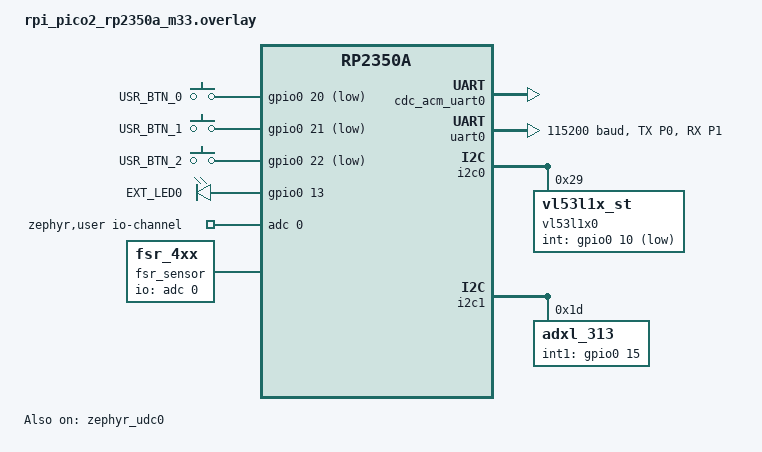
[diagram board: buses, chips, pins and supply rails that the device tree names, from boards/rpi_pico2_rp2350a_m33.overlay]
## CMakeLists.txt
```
cmake_minimum_required(VERSION 3.20.0)

find_package(Zephyr REQUIRED HINTS $ENV{ZEPHYR_BASE})
project(sensor_node_test)

target_sources(app PRIVATE 
    ${SRC_FILES}
    src/test_main.c
    ../../sensor_node/src/sensor_node.c
    ../../coms/coms.c
    # ../../sensor_node/drivers/adxl_313/adxl_313.c
    # ../../sensor_node/drivers/fsr_4xx/fsr_4xx.c
    # ../../sensor_node/drivers/vl53l1x/vl53l1x.c
)

target_include_directories(app PRIVATE
    ../../include
)
```

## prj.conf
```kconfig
CONFIG_ZTEST=y
CONFIG_TEST=y
CONFIG_POLL=y
CONFIG_SENSOR=y
CONFIG_GPIO=y
CONFIG_I2C=y
CONFIG_ADC=y
CONFIG_SERIAL=y

CONFIG_CONSOLE=y
CONFIG_UART_CONSOLE=y
CONFIG_PRINTK=y
CONFIG_STDOUT_CONSOLE=y

CONFIG_USB_DEVICE_STACK_NEXT=y
CONFIG_USBD_CDC_ACM_CLASS=y
CONFIG_CDC_ACM_SERIAL_INITIALIZE_AT_BOOT=y
CONFIG_ZTEST_VERBOSE_SUMMARY=y
```

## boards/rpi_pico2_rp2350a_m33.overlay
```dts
/ {
    chosen {
        zephyr,console = &cdc_acm_uart0;
    };
};

&zephyr_udc0 {
    status = "okay";

    cdc_acm_uart0: cdc_acm_uart0 {
        compatible = "zephyr,cdc-acm-uart";
    };
};

/ {
    keys {
        compatible = "gpio-keys";
        button0: button_0 {
            gpios = <&gpio0 20 (GPIO_PULL_UP | GPIO_ACTIVE_LOW)>;
            label = "USR_BTN_0";
        };
        button1: button_1 {
            gpios = <&gpio0 21 (GPIO_PULL_UP | GPIO_ACTIVE_LOW)>;
            label = "USR_BTN_1";
        };
        button2: button_2 {
            gpios = <&gpio0 22 (GPIO_PULL_UP | GPIO_ACTIVE_LOW)>;
            label = "USR_BTN_2";
        };
    };

    leds {
        compatible = "gpio-leds";
        led0: led_0 {
            gpios = <&gpio0 13 GPIO_ACTIVE_HIGH>;
            label = "EXT_LED0";
        };
    };

    aliases {
        button0 = &button0;
        button1 = &button1;
        button2 = &button2;
        led0 = &led0;
    };
};

&uart0 {
    status = "okay";
    current-speed = <115200>;
    pinctrl-0 = <&uart0_default>;
    pinctrl-names = "default";
};

/ {
    zephyr,user {
        io-channels = <&adc 0>;
    };

    fsr_sensor: fsr_4xx {
        compatible = "fsr_4xx";
        io-channels = <&adc 0>;
        resolution = <12>;
        status = "okay";
    };
};

&pinctrl {
    uart0_default: uart0_default {
        group1 {
            pinmux = <UART0_TX_P0>;
        };
        group2 {
            pinmux = <UART0_RX_P1>;
            input-enable;
        };
    };
};

&i2c0 {
    status = "okay";

    vl53l1x0: vl53l1x@29 {
        compatible = "vl53l1x_st";
        reg = <0x29>;
        int-gpios = <&gpio0 10 GPIO_ACTIVE_LOW>;
        threshold-mm = <70>;
        intermeasurement-period-ms = <80>;
        sample-window-ms = <3000>;
        status = "okay";
    };
};

&i2c1 {
        status = "okay";
        adxl_313: adxl_313@1d {
            compatible = "adxl_313"; /* adxl_313 uses the adxl_313 driver */
            reg = <0x1d>;
            int1-gpios = <&gpio0 15 (GPIO_PULL_DOWN | GPIO_ACTIVE_HIGH)>;
            status = "okay";
        };
    };
```

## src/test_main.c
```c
#include <zephyr/ztest.h>
#include <zephyr/kernel.h>
#include <zephyr/sys/printk.h>
#include "coms.h"
#include "sensor_node.h"

extern sensor_node_t sn;
extern struct k_msgq packet_queue;

extern struct k_msgq packet_queue;
extern struct k_sem emergency_sem;
extern int dynamic_set_variable;

void sensor_emergency_isr(void);
void process_packet(packet_t *packet);


#define ADXL_NODE DT_NODELABEL(adxl_313)
#define FSR_NODE  DT_NODELABEL(fsr_sensor)
#define TOF_NODE  DT_NODELABEL(vl53l1x0)

ZTEST(sensor_node_suite, test_build_request_packet)
{
    packet_t *pkt = build_packet(REQUEST, NULL, 0);

    zassert_not_null(pkt, "packet should not be NULL");
    zassert_equal(pkt->type, REQUEST, "wrong packet type");
    zassert_equal(pkt->data_len, 0, "wrong data_len");
    zassert_is_null(pkt->data, "data should be NULL");

    destroy_packet(pkt);
}

ZTEST(sensor_node_suite, test_build_data_packet_with_payload)
{
    uint8_t payload[] = { 0x11, 0x22, 0x33, 0x44 };

    packet_t *pkt = build_packet(RESPONSE, payload, sizeof(payload));

    zassert_not_null(pkt, "packet should not be NULL");
    zassert_equal(pkt->type, RESPONSE, "wrong packet type");
    zassert_equal(pkt->data_len, sizeof(payload), "wrong data_len");
    zassert_not_null(pkt->data, "data should not be NULL");

    zassert_mem_equal(pkt->data, payload, sizeof(payload),
                      "payload contents were not copied correctly");

    destroy_packet(pkt);
}

ZTEST(sensor_node_suite, test_build_packet_copies_payload_not_alias)
{
    uint8_t payload[] = { 1, 2, 3 };

    packet_t *pkt = build_packet(RESPONSE, payload, sizeof(payload));
    zassert_not_null(pkt, "packet should not be NULL");

    payload[0] = 99;

    zassert_equal(((uint8_t *)pkt->data)[0], 1,
                  "packet should keep original copied data");

    destroy_packet(pkt);
}

ZTEST(sensor_node_suite, test_build_packet_null_payload_nonzero_len_fails)
{
    packet_t *pkt = build_packet(RESPONSE, NULL, 4);

    zassert_is_null(pkt, "packet should fail with NULL payload and nonzero length");
}

ZTEST(sensor_node_suite, test_destroy_packet_null_safe)
{
    destroy_packet(NULL);
    zassert_true(true, "destroy_packet(NULL) should not crash");
}

ZTEST(sensor_node_suite, test_packet_queue_starts_empty)
{
    packet_t *pkt = NULL;
    int ret = k_msgq_get(&packet_queue, &pkt, K_NO_WAIT);

    zassert_equal(ret, -ENOMSG, "packet queue should be empty");
}


ZTEST(sensor_node_suite, test_packet_queue_put_and_get)
{
    packet_t *pkt = build_packet(REQUEST, NULL, 0);
    zassert_not_null(pkt, "packet should not be NULL");

    int ret = k_msgq_put(&packet_queue, &pkt, K_NO_WAIT);
    zassert_equal(ret, 0, "k_msgq_put failed");

    packet_t *out = NULL;
    ret = k_msgq_get(&packet_queue, &out, K_NO_WAIT);

    zassert_equal(ret, 0, "k_msgq_get failed");
    zassert_equal(out, pkt, "queue returned wrong packet pointer");

    destroy_packet(out);
}

ZTEST(sensor_node_suite, test_packet_queue_fifo_order)
{
    packet_t *pkt1 = build_packet(REQUEST, NULL, 0);
    packet_t *pkt2 = build_packet(RESPONSE, NULL, 0);

    zassert_not_null(pkt1, "pkt1 should not be NULL");
    zassert_not_null(pkt2, "pkt2 should not be NULL");

    zassert_equal(k_msgq_put(&packet_queue, &pkt1, K_NO_WAIT), 0);
    zassert_equal(k_msgq_put(&packet_queue, &pkt2, K_NO_WAIT), 0);

    packet_t *out1 = NULL;
    packet_t *out2 = NULL;

    zassert_equal(k_msgq_get(&packet_queue, &out1, K_NO_WAIT), 0);
    zassert_equal(k_msgq_get(&packet_queue, &out2, K_NO_WAIT), 0);

    zassert_equal(out1, pkt1, "queue did not preserve FIFO order");
    zassert_equal(out2, pkt2, "queue did not preserve FIFO order");

    destroy_packet(out1);
    destroy_packet(out2);
}

ZTEST(sensor_node_suite, test_emergency_isr_gives_semaphore)
{
    int ret;

    ret = k_sem_take(&emergency_sem, K_NO_WAIT);
    zassert_equal(ret, -EBUSY, "emergency_sem should start empty");

    sensor_emergency_isr();

    ret = k_sem_take(&emergency_sem, K_NO_WAIT);
    zassert_equal(ret, 0, "sensor_emergency_isr should give emergency_sem");
}

ZTEST(sensor_node_suite, test_emergency_isr_does_not_overflow_binary_sem)
{
    sensor_emergency_isr();
    sensor_emergency_isr();
    sensor_emergency_isr();

    zassert_equal(k_sem_take(&emergency_sem, K_NO_WAIT), 0,
                  "first semaphore take should succeed");

    zassert_equal(k_sem_take(&emergency_sem, K_NO_WAIT), -EBUSY,
                  "binary semaphore should not exceed limit 1");
}

ZTEST(sensor_node_suite, test_packet_queue_initially_empty)
{
    packet_t *pkt = NULL;

    int ret = k_msgq_get(&packet_queue, &pkt, K_NO_WAIT);

    zassert_equal(ret, -ENOMSG, "packet_queue should be empty");
}

ZTEST(sensor_node_suite, test_packet_queue_put_get_single_packet)
{
    packet_t *pkt = build_packet(EMERGENCY, NULL, 0);
    zassert_not_null(pkt, "build_packet failed");

    zassert_equal(k_msgq_put(&packet_queue, &pkt, K_NO_WAIT), 0,
                  "k_msgq_put failed");

    packet_t *out = NULL;
    zassert_equal(k_msgq_get(&packet_queue, &out, K_NO_WAIT), 0,
                  "k_msgq_get failed");

    zassert_equal(out, pkt, "queue returned wrong packet pointer");
    zassert_equal(out->type, EMERGENCY, "wrong packet type");

    destroy_packet(out);
}

ZTEST(sensor_node_suite, test_build_config_packet_medium)
{
    uint8_t payload[] = { MEDIUM };

    packet_t *pkt = build_packet(CONFIG, payload, sizeof(payload));

    zassert_not_null(pkt, "packet should not be NULL");
    zassert_equal(pkt->type, CONFIG, "wrong packet type");
    zassert_equal(pkt->data_len, 1, "wrong data length");
    zassert_not_null(pkt->data, "data should not be NULL");
    zassert_equal(((uint8_t *)pkt->data)[0], MEDIUM, "wrong config value");

    destroy_packet(pkt);
}

ZTEST(sensor_node_suite, test_build_config_packet_high)
{
    uint8_t payload[] = { HIGH };

    packet_t *pkt = build_packet(CONFIG, payload, sizeof(payload));

    zassert_not_null(pkt, "packet should not be NULL");
    zassert_equal(pkt->type, CONFIG, "wrong packet type");
    zassert_equal(pkt->data_len, 1, "wrong data length");
    zassert_not_null(pkt->data, "data should not be NULL");
    zassert_equal(((uint8_t *)pkt->data)[0], HIGH, "wrong config value");

    destroy_packet(pkt);
}

ZTEST(sensor_node_suite, test_build_packet_empty_payload_pointer_ignored)
{
    uint8_t payload[] = { 0xAA, 0xBB };

    packet_t *pkt = build_packet(RESPONSE, payload, 0);

    zassert_not_null(pkt, "packet should not be NULL");
    zassert_equal(pkt->type, RESPONSE, "wrong packet type");
    zassert_equal(pkt->data_len, 0, "wrong data length");
    zassert_is_null(pkt->data, "zero-length payload should produce NULL data");

    destroy_packet(pkt);
}

static void *suite_setup(void)
{
    k_sleep(K_SECONDS(3));
    return NULL;
}

static void clear_packet_queue(void)
{
    packet_t *pkt;

    while (k_msgq_get(&packet_queue, &pkt, K_NO_WAIT) == 0) {
        if (pkt != NULL) {
            destroy_packet(pkt);
        }
    }
}

static void before_each(void *fixture)
{
    ARG_UNUSED(fixture);

    clear_packet_queue();

    while (k_sem_take(&emergency_sem, K_NO_WAIT) == 0) {}

    dynamic_set_variable = 0;
}

ZTEST_SUITE(sensor_node_suite, NULL, suite_setup, before_each, NULL, NULL);

void test_main(void)
{
    ztest_run_all(NULL, false, 1, 1);
}
```
